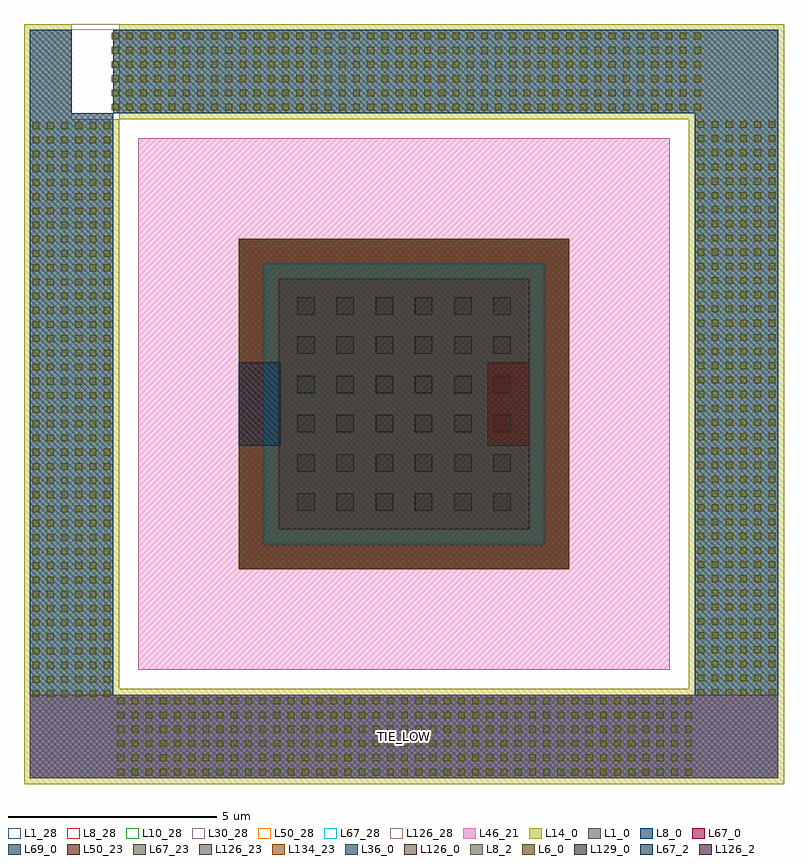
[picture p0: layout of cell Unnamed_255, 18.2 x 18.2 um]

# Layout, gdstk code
from math import pi, radians
import gdstk
lib = gdstk.Library(unit=1e-6, precision=1e-09)
def R(c, l, rs):  # rectangles x0, y0, x1, y1
    for r in rs: c.add(gdstk.rectangle(r[:2], r[2:], *l))
def P(c, l, *ps):  # polygons
    for p in ps: c.add(gdstk.Polygon(p, *l))
L1_0 = (1, 0)
L1_28 = (1, 28)
L6_0 = (6, 0)
L8_0 = (8, 0)
L8_2 = (8, 2)
L8_28 = (8, 28)
L10_28 = (10, 28)
L14_0 = (14, 0)
L30_28 = (30, 28)
L36_0 = (36, 0)
L46_21 = (46, 21)
L50_23 = (50, 23)
L50_28 = (50, 28)
L67_0 = (67, 0)
L67_2 = (67, 2)
L67_23 = (67, 23)
L67_28 = (67, 28)
L69_0 = (69, 0)
L126_0 = (126, 0)
L126_2 = (126, 2)
L126_23 = (126, 23)
L126_28 = (126, 28)
L129_0 = (129, 0)
L134_23 = (134, 23)

rectangle_gdsfactorypcom = lib.new_cell('rectangle_gdsfactorypcomponentspshapesprectangle_S7p92__2f53f460')
R(rectangle_gdsfactorypcom, L67_0, [(-3.96,-3.96,3.96,3.96)])

c_rectangle_gdsfactorypcom = lib.new_cell('rectangle_gdsfactorypcomponentspshapesprectangle_S6p72__84c52099')
R(c_rectangle_gdsfactorypcom, L36_0, [(-3.36,-3.36,3.36,3.36)])

c_rectangle_gdsfactorypcom_ = lib.new_cell('rectangle_gdsfactorypcomponentspshapesprectangle_S6_6_L_617c6e3a')
R(c_rectangle_gdsfactorypcom_, L126_0, [(-3,-3,3,3)])

c_rectangle_gdsfactorypcom__ = lib.new_cell('rectangle_gdsfactorypcomponentspshapesprectangle_S0p42__b20b6c6c')
R(c_rectangle_gdsfactorypcom__, L129_0, [(0,0,0.42,0.42)])

via_array_vtvmim_c6_r6_v = lib.new_cell('via_array_VTVmim_C6_R6_VS0p42_VS0p94_VE0p42_LCContdrawi_f9908038')
via_array_vtvmim_c6_r6_v.add(gdstk.Reference(c_rectangle_gdsfactorypcom__, (0,0)))
via_array_vtvmim_c6_r6_v.add(gdstk.Reference(c_rectangle_gdsfactorypcom__, (0,0.94)))
via_array_vtvmim_c6_r6_v.add(gdstk.Reference(c_rectangle_gdsfactorypcom__, (0,1.88)))
via_array_vtvmim_c6_r6_v.add(gdstk.Reference(c_rectangle_gdsfactorypcom__, (0,2.82)))
via_array_vtvmim_c6_r6_v.add(gdstk.Reference(c_rectangle_gdsfactorypcom__, (0,3.76)))
via_array_vtvmim_c6_r6_v.add(gdstk.Reference(c_rectangle_gdsfactorypcom__, (0,4.7)))
via_array_vtvmim_c6_r6_v.add(gdstk.Reference(c_rectangle_gdsfactorypcom__, (0.94,0)))
via_array_vtvmim_c6_r6_v.add(gdstk.Reference(c_rectangle_gdsfactorypcom__, (0.94,0.94)))
via_array_vtvmim_c6_r6_v.add(gdstk.Reference(c_rectangle_gdsfactorypcom__, (0.94,1.88)))
via_array_vtvmim_c6_r6_v.add(gdstk.Reference(c_rectangle_gdsfactorypcom__, (0.94,2.82)))
via_array_vtvmim_c6_r6_v.add(gdstk.Reference(c_rectangle_gdsfactorypcom__, (0.94,3.76)))
via_array_vtvmim_c6_r6_v.add(gdstk.Reference(c_rectangle_gdsfactorypcom__, (0.94,4.7)))
via_array_vtvmim_c6_r6_v.add(gdstk.Reference(c_rectangle_gdsfactorypcom__, (1.88,0)))
via_array_vtvmim_c6_r6_v.add(gdstk.Reference(c_rectangle_gdsfactorypcom__, (1.88,0.94)))
via_array_vtvmim_c6_r6_v.add(gdstk.Reference(c_rectangle_gdsfactorypcom__, (1.88,1.88)))
via_array_vtvmim_c6_r6_v.add(gdstk.Reference(c_rectangle_gdsfactorypcom__, (1.88,2.82)))
via_array_vtvmim_c6_r6_v.add(gdstk.Reference(c_rectangle_gdsfactorypcom__, (1.88,3.76)))
via_array_vtvmim_c6_r6_v.add(gdstk.Reference(c_rectangle_gdsfactorypcom__, (1.88,4.7)))
via_array_vtvmim_c6_r6_v.add(gdstk.Reference(c_rectangle_gdsfactorypcom__, (2.82,0)))
via_array_vtvmim_c6_r6_v.add(gdstk.Reference(c_rectangle_gdsfactorypcom__, (2.82,0.94)))
via_array_vtvmim_c6_r6_v.add(gdstk.Reference(c_rectangle_gdsfactorypcom__, (2.82,1.88)))
via_array_vtvmim_c6_r6_v.add(gdstk.Reference(c_rectangle_gdsfactorypcom__, (2.82,2.82)))
via_array_vtvmim_c6_r6_v.add(gdstk.Reference(c_rectangle_gdsfactorypcom__, (2.82,3.76)))
via_array_vtvmim_c6_r6_v.add(gdstk.Reference(c_rectangle_gdsfactorypcom__, (2.82,4.7)))
via_array_vtvmim_c6_r6_v.add(gdstk.Reference(c_rectangle_gdsfactorypcom__, (3.76,0)))
via_array_vtvmim_c6_r6_v.add(gdstk.Reference(c_rectangle_gdsfactorypcom__, (3.76,0.94)))
via_array_vtvmim_c6_r6_v.add(gdstk.Reference(c_rectangle_gdsfactorypcom__, (3.76,1.88)))
via_array_vtvmim_c6_r6_v.add(gdstk.Reference(c_rectangle_gdsfactorypcom__, (3.76,2.82)))
via_array_vtvmim_c6_r6_v.add(gdstk.Reference(c_rectangle_gdsfactorypcom__, (3.76,3.76)))
via_array_vtvmim_c6_r6_v.add(gdstk.Reference(c_rectangle_gdsfactorypcom__, (3.76,4.7)))
via_array_vtvmim_c6_r6_v.add(gdstk.Reference(c_rectangle_gdsfactorypcom__, (4.7,0)))
via_array_vtvmim_c6_r6_v.add(gdstk.Reference(c_rectangle_gdsfactorypcom__, (4.7,0.94)))
via_array_vtvmim_c6_r6_v.add(gdstk.Reference(c_rectangle_gdsfactorypcom__, (4.7,1.88)))
via_array_vtvmim_c6_r6_v.add(gdstk.Reference(c_rectangle_gdsfactorypcom__, (4.7,2.82)))
via_array_vtvmim_c6_r6_v.add(gdstk.Reference(c_rectangle_gdsfactorypcom__, (4.7,3.76)))
via_array_vtvmim_c6_r6_v.add(gdstk.Reference(c_rectangle_gdsfactorypcom__, (4.7,4.7)))

c_rectangle_gdsfactorypcom___ = lib.new_cell('rectangle_gdsfactorypcomponentspshapesprectangle_S7p92__94a7ff8e')
R(c_rectangle_gdsfactorypcom___, L69_0, [(-3.96,-3.96,3.96,3.96)])

c_rectangle_gdsfactorypcom____ = lib.new_cell('rectangle_gdsfactorypcomponentspshapesprectangle_S7p92__140be9b3')
R(c_rectangle_gdsfactorypcom____, L50_23, [(-3.96,-3.96,3.96,3.96)])

c_rectangle_gdsfactorypcom_____ = lib.new_cell('rectangle_gdsfactorypcomponentspshapesprectangle_S7p92__4ea18f77')
R(c_rectangle_gdsfactorypcom_____, L67_23, [(-3.96,-3.96,3.96,3.96)])

c_rectangle_gdsfactorypcom______ = lib.new_cell('rectangle_gdsfactorypcomponentspshapesprectangle_S7p92__2ec7e15c')
R(c_rectangle_gdsfactorypcom______, L126_23, [(-3.96,-3.96,3.96,3.96)])

c_rectangle_gdsfactorypcom_______ = lib.new_cell('rectangle_gdsfactorypcomponentspshapesprectangle_S7p92__59f34193')
R(c_rectangle_gdsfactorypcom_______, L134_23, [(-3.96,-3.96,3.96,3.96)])

c_rectangle_gdsfactorypcom________ = lib.new_cell('rectangle_gdsfactorypcomponentspshapesprectangle_S1_2_L_313130ad')
R(c_rectangle_gdsfactorypcom________, L67_2, [(-0.5,-1,0.5,1)])

c_rectangle_gdsfactorypcom_________ = lib.new_cell('rectangle_gdsfactorypcomponentspshapesprectangle_S1_2_L_21edbbcb')
R(c_rectangle_gdsfactorypcom_________, L126_2, [(-0.5,-1,0.5,1)])

unnamed_256 = lib.new_cell('Unnamed_256')
unnamed_256.add(gdstk.Reference(rectangle_gdsfactorypcom, (0,0)))
unnamed_256.add(gdstk.Reference(c_rectangle_gdsfactorypcom, (0,0)))
unnamed_256.add(gdstk.Reference(c_rectangle_gdsfactorypcom_, (0,0)))
unnamed_256.add(gdstk.Reference(via_array_vtvmim_c6_r6_v, (-2.56,-2.56)))
unnamed_256.add(gdstk.Reference(c_rectangle_gdsfactorypcom___, (0,0)))
unnamed_256.add(gdstk.Reference(c_rectangle_gdsfactorypcom____, (0,0)))
unnamed_256.add(gdstk.Reference(c_rectangle_gdsfactorypcom_____, (0,0)))
unnamed_256.add(gdstk.Reference(c_rectangle_gdsfactorypcom______, (0,0)))
unnamed_256.add(gdstk.Reference(c_rectangle_gdsfactorypcom_______, (0,0)))
unnamed_256.add(gdstk.Reference(c_rectangle_gdsfactorypcom________, (-3.46,0)))
unnamed_256.add(gdstk.Reference(c_rectangle_gdsfactorypcom_________, (2.5,0)))
unnamed_256.add(gdstk.Label('PLUS', (2.5,0), layer=63, texttype=0))
unnamed_256.add(gdstk.Label('MINUS', (-3.86,0), layer=63, texttype=0))
unnamed_256.add(gdstk.Label('rfcmim', (0,3), layer=63, texttype=0))
unnamed_256.add(gdstk.Label('C = 54.0 fF', (0,-3), layer=63, texttype=0))

c_rectangle_gdsfactorypcom__________ = lib.new_cell('rectangle_gdsfactorypcomponentspshapesprectangle_S12p71_ca79e953')
R(c_rectangle_gdsfactorypcom__________, L46_21, [(-6.36,-6.36,6.36,6.36)])

unnamed_258 = lib.new_cell('Unnamed_258')
P(unnamed_258, L1_0, [(-8.96,-8.96),(-8.96,8.96),(-6.96,8.96),(-6.96,-6.96),(6.96,-6.96),(6.96,6.96),(-7.96,6.96),(-7.96,8.96),(8.96,8.96),(8.96,-8.96)])

unnamed_259 = lib.new_cell('Unnamed_259')
P(unnamed_259, L8_0, [(-8.96,-8.96),(-8.96,8.96),(-6.96,8.96),(-6.96,-6.96),(6.96,-6.96),(6.96,6.96),(-7.96,6.96),(-7.96,8.96),(8.96,8.96),(8.96,-8.96)])

unnamed_260 = lib.new_cell('Unnamed_260')
P(unnamed_260, L14_0, [(-9.1,-9.1),(-9.1,9.1),(-6.82,9.1),(-6.82,-6.82),(6.82,-6.82),(6.82,6.82),(-7.96,6.82),(-7.96,9.1),(9.1,9.1),(9.1,-9.1)])

c_rectangle_gdsfactorypcom___________ = lib.new_cell('rectangle_gdsfactorypcomponentspshapesprectangle_S0p16__bf15bdcd')
R(c_rectangle_gdsfactorypcom___________, L6_0, [(0,0,0.16,0.16)])

via_array_vtcont_c1_r6_v = lib.new_cell('via_array_VTCont_C1_R6_VS0p16_VS0p33999999999999997_VE0_973e9d7a')
via_array_vtcont_c1_r6_v.add(gdstk.Reference(c_rectangle_gdsfactorypcom___________, (0,0)))
via_array_vtcont_c1_r6_v.add(gdstk.Reference(c_rectangle_gdsfactorypcom___________, (0,0.34)))
via_array_vtcont_c1_r6_v.add(gdstk.Reference(c_rectangle_gdsfactorypcom___________, (0,0.68)))
via_array_vtcont_c1_r6_v.add(gdstk.Reference(c_rectangle_gdsfactorypcom___________, (0,1.02)))
via_array_vtcont_c1_r6_v.add(gdstk.Reference(c_rectangle_gdsfactorypcom___________, (0,1.36)))
via_array_vtcont_c1_r6_v.add(gdstk.Reference(c_rectangle_gdsfactorypcom___________, (0,1.7)))

unnamed_261 = lib.new_cell('Unnamed_261')
unnamed_261.add(gdstk.Reference(via_array_vtcont_c1_r6_v, (0.095,-7.03), rotation=pi))
unnamed_261.add(gdstk.Reference(via_array_vtcont_c1_r6_v, (0.485,7.03)))
unnamed_261.add(gdstk.Reference(via_array_vtcont_c1_r6_v, (0.825,7.03)))
unnamed_261.add(gdstk.Reference(via_array_vtcont_c1_r6_v, (1.165,7.03)))
unnamed_261.add(gdstk.Reference(via_array_vtcont_c1_r6_v, (1.505,7.03)))
unnamed_261.add(gdstk.Reference(via_array_vtcont_c1_r6_v, (1.845,7.03)))
unnamed_261.add(gdstk.Reference(via_array_vtcont_c1_r6_v, (2.185,7.03)))
unnamed_261.add(gdstk.Reference(via_array_vtcont_c1_r6_v, (2.525,7.03)))
unnamed_261.add(gdstk.Reference(via_array_vtcont_c1_r6_v, (2.865,7.03)))
unnamed_261.add(gdstk.Reference(via_array_vtcont_c1_r6_v, (3.205,7.03)))
unnamed_261.add(gdstk.Reference(via_array_vtcont_c1_r6_v, (3.545,7.03)))
unnamed_261.add(gdstk.Reference(via_array_vtcont_c1_r6_v, (3.885,7.03)))
unnamed_261.add(gdstk.Reference(via_array_vtcont_c1_r6_v, (4.225,7.03)))
unnamed_261.add(gdstk.Reference(via_array_vtcont_c1_r6_v, (4.565,7.03)))
unnamed_261.add(gdstk.Reference(via_array_vtcont_c1_r6_v, (4.905,7.03)))
unnamed_261.add(gdstk.Reference(via_array_vtcont_c1_r6_v, (5.245,7.03)))
unnamed_261.add(gdstk.Reference(via_array_vtcont_c1_r6_v, (5.585,7.03)))
unnamed_261.add(gdstk.Reference(via_array_vtcont_c1_r6_v, (5.925,7.03)))
unnamed_261.add(gdstk.Reference(via_array_vtcont_c1_r6_v, (6.265,7.03)))
unnamed_261.add(gdstk.Reference(via_array_vtcont_c1_r6_v, (6.605,7.03)))
unnamed_261.add(gdstk.Reference(via_array_vtcont_c1_r6_v, (6.945,7.03)))
unnamed_261.add(gdstk.Reference(via_array_vtcont_c1_r6_v, (7.03,6.775), rotation=3*pi/2))
unnamed_261.add(gdstk.Reference(via_array_vtcont_c1_r6_v, (7.03,6.435), rotation=3*pi/2))
unnamed_261.add(gdstk.Reference(via_array_vtcont_c1_r6_v, (7.03,6.095), rotation=3*pi/2))
unnamed_261.add(gdstk.Reference(via_array_vtcont_c1_r6_v, (7.03,5.755), rotation=3*pi/2))
unnamed_261.add(gdstk.Reference(via_array_vtcont_c1_r6_v, (7.03,5.415), rotation=3*pi/2))
unnamed_261.add(gdstk.Reference(via_array_vtcont_c1_r6_v, (7.03,5.075), rotation=3*pi/2))
unnamed_261.add(gdstk.Reference(via_array_vtcont_c1_r6_v, (7.03,4.735), rotation=3*pi/2))
unnamed_261.add(gdstk.Reference(via_array_vtcont_c1_r6_v, (7.03,4.395), rotation=3*pi/2))
unnamed_261.add(gdstk.Reference(via_array_vtcont_c1_r6_v, (7.03,4.055), rotation=3*pi/2))
unnamed_261.add(gdstk.Reference(via_array_vtcont_c1_r6_v, (7.03,3.715), rotation=3*pi/2))
unnamed_261.add(gdstk.Reference(via_array_vtcont_c1_r6_v, (7.03,3.375), rotation=3*pi/2))
unnamed_261.add(gdstk.Reference(via_array_vtcont_c1_r6_v, (7.03,3.035), rotation=3*pi/2))
unnamed_261.add(gdstk.Reference(via_array_vtcont_c1_r6_v, (7.03,2.695), rotation=3*pi/2))
unnamed_261.add(gdstk.Reference(via_array_vtcont_c1_r6_v, (7.03,2.355), rotation=3*pi/2))
unnamed_261.add(gdstk.Reference(via_array_vtcont_c1_r6_v, (7.03,2.015), rotation=3*pi/2))
unnamed_261.add(gdstk.Reference(via_array_vtcont_c1_r6_v, (7.03,1.675), rotation=3*pi/2))
unnamed_261.add(gdstk.Reference(via_array_vtcont_c1_r6_v, (7.03,1.335), rotation=3*pi/2))
unnamed_261.add(gdstk.Reference(via_array_vtcont_c1_r6_v, (7.03,0.995), rotation=3*pi/2))
unnamed_261.add(gdstk.Reference(via_array_vtcont_c1_r6_v, (7.03,0.655), rotation=3*pi/2))
unnamed_261.add(gdstk.Reference(via_array_vtcont_c1_r6_v, (7.03,0.315), rotation=3*pi/2))
unnamed_261.add(gdstk.Reference(via_array_vtcont_c1_r6_v, (0.145,7.03)))
unnamed_261.add(gdstk.Reference(via_array_vtcont_c1_r6_v, (-6.995,7.03)))
unnamed_261.add(gdstk.Reference(via_array_vtcont_c1_r6_v, (-6.655,7.03)))
unnamed_261.add(gdstk.Reference(via_array_vtcont_c1_r6_v, (-6.315,7.03)))
unnamed_261.add(gdstk.Reference(via_array_vtcont_c1_r6_v, (-5.975,7.03)))
unnamed_261.add(gdstk.Reference(via_array_vtcont_c1_r6_v, (-5.635,7.03)))
unnamed_261.add(gdstk.Reference(via_array_vtcont_c1_r6_v, (-5.295,7.03)))
unnamed_261.add(gdstk.Reference(via_array_vtcont_c1_r6_v, (-4.955,7.03)))
unnamed_261.add(gdstk.Reference(via_array_vtcont_c1_r6_v, (-4.615,7.03)))
unnamed_261.add(gdstk.Reference(via_array_vtcont_c1_r6_v, (-4.275,7.03)))
unnamed_261.add(gdstk.Reference(via_array_vtcont_c1_r6_v, (-3.935,7.03)))
unnamed_261.add(gdstk.Reference(via_array_vtcont_c1_r6_v, (-3.595,7.03)))
unnamed_261.add(gdstk.Reference(via_array_vtcont_c1_r6_v, (-3.255,7.03)))
unnamed_261.add(gdstk.Reference(via_array_vtcont_c1_r6_v, (-2.915,7.03)))
unnamed_261.add(gdstk.Reference(via_array_vtcont_c1_r6_v, (-2.575,7.03)))
unnamed_261.add(gdstk.Reference(via_array_vtcont_c1_r6_v, (-2.235,7.03)))
unnamed_261.add(gdstk.Reference(via_array_vtcont_c1_r6_v, (-1.895,7.03)))
unnamed_261.add(gdstk.Reference(via_array_vtcont_c1_r6_v, (-1.555,7.03)))
unnamed_261.add(gdstk.Reference(via_array_vtcont_c1_r6_v, (-1.215,7.03)))
unnamed_261.add(gdstk.Reference(via_array_vtcont_c1_r6_v, (-0.875,7.03)))
unnamed_261.add(gdstk.Reference(via_array_vtcont_c1_r6_v, (-0.535,7.03)))
unnamed_261.add(gdstk.Reference(via_array_vtcont_c1_r6_v, (-0.195,7.03)))
unnamed_261.add(gdstk.Reference(via_array_vtcont_c1_r6_v, (-7.03,0.125), rotation=pi/2))
unnamed_261.add(gdstk.Reference(via_array_vtcont_c1_r6_v, (-7.03,0.465), rotation=pi/2))
unnamed_261.add(gdstk.Reference(via_array_vtcont_c1_r6_v, (-7.03,0.805), rotation=pi/2))
unnamed_261.add(gdstk.Reference(via_array_vtcont_c1_r6_v, (-7.03,1.145), rotation=pi/2))
unnamed_261.add(gdstk.Reference(via_array_vtcont_c1_r6_v, (-7.03,1.485), rotation=pi/2))
unnamed_261.add(gdstk.Reference(via_array_vtcont_c1_r6_v, (-7.03,1.825), rotation=pi/2))
unnamed_261.add(gdstk.Reference(via_array_vtcont_c1_r6_v, (-7.03,2.165), rotation=pi/2))
unnamed_261.add(gdstk.Reference(via_array_vtcont_c1_r6_v, (-7.03,2.505), rotation=pi/2))
unnamed_261.add(gdstk.Reference(via_array_vtcont_c1_r6_v, (-7.03,2.845), rotation=pi/2))
unnamed_261.add(gdstk.Reference(via_array_vtcont_c1_r6_v, (-7.03,3.185), rotation=pi/2))
unnamed_261.add(gdstk.Reference(via_array_vtcont_c1_r6_v, (-7.03,3.525), rotation=pi/2))
unnamed_261.add(gdstk.Reference(via_array_vtcont_c1_r6_v, (-7.03,3.865), rotation=pi/2))
unnamed_261.add(gdstk.Reference(via_array_vtcont_c1_r6_v, (-7.03,4.205), rotation=pi/2))
unnamed_261.add(gdstk.Reference(via_array_vtcont_c1_r6_v, (-7.03,4.545), rotation=pi/2))
unnamed_261.add(gdstk.Reference(via_array_vtcont_c1_r6_v, (-7.03,4.885), rotation=pi/2))
unnamed_261.add(gdstk.Reference(via_array_vtcont_c1_r6_v, (-7.03,5.225), rotation=pi/2))
unnamed_261.add(gdstk.Reference(via_array_vtcont_c1_r6_v, (-7.03,5.565), rotation=pi/2))
unnamed_261.add(gdstk.Reference(via_array_vtcont_c1_r6_v, (-7.03,5.905), rotation=pi/2))
unnamed_261.add(gdstk.Reference(via_array_vtcont_c1_r6_v, (-7.03,6.245), rotation=pi/2))
unnamed_261.add(gdstk.Reference(via_array_vtcont_c1_r6_v, (-7.03,6.585), rotation=pi/2))
unnamed_261.add(gdstk.Reference(via_array_vtcont_c1_r6_v, (-7.03,-7.015), rotation=pi/2))
unnamed_261.add(gdstk.Reference(via_array_vtcont_c1_r6_v, (-7.03,-6.675), rotation=pi/2))
unnamed_261.add(gdstk.Reference(via_array_vtcont_c1_r6_v, (-7.03,-6.335), rotation=pi/2))
unnamed_261.add(gdstk.Reference(via_array_vtcont_c1_r6_v, (-7.03,-5.995), rotation=pi/2))
unnamed_261.add(gdstk.Reference(via_array_vtcont_c1_r6_v, (-7.03,-5.655), rotation=pi/2))
unnamed_261.add(gdstk.Reference(via_array_vtcont_c1_r6_v, (-7.03,-5.315), rotation=pi/2))
unnamed_261.add(gdstk.Reference(via_array_vtcont_c1_r6_v, (-7.03,-4.975), rotation=pi/2))
unnamed_261.add(gdstk.Reference(via_array_vtcont_c1_r6_v, (-7.03,-4.635), rotation=pi/2))
unnamed_261.add(gdstk.Reference(via_array_vtcont_c1_r6_v, (-7.03,-4.295), rotation=pi/2))
unnamed_261.add(gdstk.Reference(via_array_vtcont_c1_r6_v, (-7.03,-3.955), rotation=pi/2))
unnamed_261.add(gdstk.Reference(via_array_vtcont_c1_r6_v, (-7.03,-3.615), rotation=pi/2))
unnamed_261.add(gdstk.Reference(via_array_vtcont_c1_r6_v, (-7.03,-3.275), rotation=pi/2))
unnamed_261.add(gdstk.Reference(via_array_vtcont_c1_r6_v, (-7.03,-2.935), rotation=pi/2))
unnamed_261.add(gdstk.Reference(via_array_vtcont_c1_r6_v, (-7.03,-2.595), rotation=pi/2))
unnamed_261.add(gdstk.Reference(via_array_vtcont_c1_r6_v, (-7.03,-2.255), rotation=pi/2))
unnamed_261.add(gdstk.Reference(via_array_vtcont_c1_r6_v, (-7.03,-1.915), rotation=pi/2))
unnamed_261.add(gdstk.Reference(via_array_vtcont_c1_r6_v, (-7.03,-1.575), rotation=pi/2))
unnamed_261.add(gdstk.Reference(via_array_vtcont_c1_r6_v, (-7.03,-1.235), rotation=pi/2))
unnamed_261.add(gdstk.Reference(via_array_vtcont_c1_r6_v, (-7.03,-0.895), rotation=pi/2))
unnamed_261.add(gdstk.Reference(via_array_vtcont_c1_r6_v, (-7.03,-0.555), rotation=pi/2))
unnamed_261.add(gdstk.Reference(via_array_vtcont_c1_r6_v, (-7.03,-0.215), rotation=pi/2))
unnamed_261.add(gdstk.Reference(via_array_vtcont_c1_r6_v, (-0.245,-7.03), rotation=pi))
unnamed_261.add(gdstk.Reference(via_array_vtcont_c1_r6_v, (-0.585,-7.03), rotation=pi))
unnamed_261.add(gdstk.Reference(via_array_vtcont_c1_r6_v, (-0.925,-7.03), rotation=pi))
unnamed_261.add(gdstk.Reference(via_array_vtcont_c1_r6_v, (-1.265,-7.03), rotation=pi))
unnamed_261.add(gdstk.Reference(via_array_vtcont_c1_r6_v, (-1.605,-7.03), rotation=pi))
unnamed_261.add(gdstk.Reference(via_array_vtcont_c1_r6_v, (-1.945,-7.03), rotation=pi))
unnamed_261.add(gdstk.Reference(via_array_vtcont_c1_r6_v, (-2.285,-7.03), rotation=pi))
unnamed_261.add(gdstk.Reference(via_array_vtcont_c1_r6_v, (-2.625,-7.03), rotation=pi))
unnamed_261.add(gdstk.Reference(via_array_vtcont_c1_r6_v, (-2.965,-7.03), rotation=pi))
unnamed_261.add(gdstk.Reference(via_array_vtcont_c1_r6_v, (-3.305,-7.03), rotation=pi))
unnamed_261.add(gdstk.Reference(via_array_vtcont_c1_r6_v, (-3.645,-7.03), rotation=pi))
unnamed_261.add(gdstk.Reference(via_array_vtcont_c1_r6_v, (-3.985,-7.03), rotation=pi))
unnamed_261.add(gdstk.Reference(via_array_vtcont_c1_r6_v, (-4.325,-7.03), rotation=pi))
unnamed_261.add(gdstk.Reference(via_array_vtcont_c1_r6_v, (-4.665,-7.03), rotation=pi))
unnamed_261.add(gdstk.Reference(via_array_vtcont_c1_r6_v, (-5.005,-7.03), rotation=pi))
unnamed_261.add(gdstk.Reference(via_array_vtcont_c1_r6_v, (-5.345,-7.03), rotation=pi))
unnamed_261.add(gdstk.Reference(via_array_vtcont_c1_r6_v, (-5.685,-7.03), rotation=pi))
unnamed_261.add(gdstk.Reference(via_array_vtcont_c1_r6_v, (-6.025,-7.03), rotation=pi))
unnamed_261.add(gdstk.Reference(via_array_vtcont_c1_r6_v, (-6.365,-7.03), rotation=pi))
unnamed_261.add(gdstk.Reference(via_array_vtcont_c1_r6_v, (-6.705,-7.03), rotation=pi))
unnamed_261.add(gdstk.Reference(via_array_vtcont_c1_r6_v, (6.895,-7.03), rotation=pi))
unnamed_261.add(gdstk.Reference(via_array_vtcont_c1_r6_v, (6.555,-7.03), rotation=pi))
unnamed_261.add(gdstk.Reference(via_array_vtcont_c1_r6_v, (6.215,-7.03), rotation=pi))
unnamed_261.add(gdstk.Reference(via_array_vtcont_c1_r6_v, (5.875,-7.03), rotation=pi))
unnamed_261.add(gdstk.Reference(via_array_vtcont_c1_r6_v, (5.535,-7.03), rotation=pi))
unnamed_261.add(gdstk.Reference(via_array_vtcont_c1_r6_v, (5.195,-7.03), rotation=pi))
unnamed_261.add(gdstk.Reference(via_array_vtcont_c1_r6_v, (4.855,-7.03), rotation=pi))
unnamed_261.add(gdstk.Reference(via_array_vtcont_c1_r6_v, (4.515,-7.03), rotation=pi))
unnamed_261.add(gdstk.Reference(via_array_vtcont_c1_r6_v, (4.175,-7.03), rotation=pi))
unnamed_261.add(gdstk.Reference(via_array_vtcont_c1_r6_v, (3.835,-7.03), rotation=pi))
unnamed_261.add(gdstk.Reference(via_array_vtcont_c1_r6_v, (3.495,-7.03), rotation=pi))
unnamed_261.add(gdstk.Reference(via_array_vtcont_c1_r6_v, (3.155,-7.03), rotation=pi))
unnamed_261.add(gdstk.Reference(via_array_vtcont_c1_r6_v, (2.815,-7.03), rotation=pi))
unnamed_261.add(gdstk.Reference(via_array_vtcont_c1_r6_v, (2.475,-7.03), rotation=pi))
unnamed_261.add(gdstk.Reference(via_array_vtcont_c1_r6_v, (2.135,-7.03), rotation=pi))
unnamed_261.add(gdstk.Reference(via_array_vtcont_c1_r6_v, (1.795,-7.03), rotation=pi))
unnamed_261.add(gdstk.Reference(via_array_vtcont_c1_r6_v, (1.455,-7.03), rotation=pi))
unnamed_261.add(gdstk.Reference(via_array_vtcont_c1_r6_v, (1.115,-7.03), rotation=pi))
unnamed_261.add(gdstk.Reference(via_array_vtcont_c1_r6_v, (0.775,-7.03), rotation=pi))
unnamed_261.add(gdstk.Reference(via_array_vtcont_c1_r6_v, (0.435,-7.03), rotation=pi))
unnamed_261.add(gdstk.Reference(via_array_vtcont_c1_r6_v, (7.03,-0.025), rotation=3*pi/2))
unnamed_261.add(gdstk.Reference(via_array_vtcont_c1_r6_v, (7.03,-0.365), rotation=3*pi/2))
unnamed_261.add(gdstk.Reference(via_array_vtcont_c1_r6_v, (7.03,-0.705), rotation=3*pi/2))
unnamed_261.add(gdstk.Reference(via_array_vtcont_c1_r6_v, (7.03,-1.045), rotation=3*pi/2))
unnamed_261.add(gdstk.Reference(via_array_vtcont_c1_r6_v, (7.03,-1.385), rotation=3*pi/2))
unnamed_261.add(gdstk.Reference(via_array_vtcont_c1_r6_v, (7.03,-1.725), rotation=3*pi/2))
unnamed_261.add(gdstk.Reference(via_array_vtcont_c1_r6_v, (7.03,-2.065), rotation=3*pi/2))
unnamed_261.add(gdstk.Reference(via_array_vtcont_c1_r6_v, (7.03,-2.405), rotation=3*pi/2))
unnamed_261.add(gdstk.Reference(via_array_vtcont_c1_r6_v, (7.03,-2.745), rotation=3*pi/2))
unnamed_261.add(gdstk.Reference(via_array_vtcont_c1_r6_v, (7.03,-3.085), rotation=3*pi/2))
unnamed_261.add(gdstk.Reference(via_array_vtcont_c1_r6_v, (7.03,-3.425), rotation=3*pi/2))
unnamed_261.add(gdstk.Reference(via_array_vtcont_c1_r6_v, (7.03,-3.765), rotation=3*pi/2))
unnamed_261.add(gdstk.Reference(via_array_vtcont_c1_r6_v, (7.03,-4.105), rotation=3*pi/2))
unnamed_261.add(gdstk.Reference(via_array_vtcont_c1_r6_v, (7.03,-4.445), rotation=3*pi/2))
unnamed_261.add(gdstk.Reference(via_array_vtcont_c1_r6_v, (7.03,-4.785), rotation=3*pi/2))
unnamed_261.add(gdstk.Reference(via_array_vtcont_c1_r6_v, (7.03,-5.125), rotation=3*pi/2))
unnamed_261.add(gdstk.Reference(via_array_vtcont_c1_r6_v, (7.03,-5.465), rotation=3*pi/2))
unnamed_261.add(gdstk.Reference(via_array_vtcont_c1_r6_v, (7.03,-5.805), rotation=3*pi/2))
unnamed_261.add(gdstk.Reference(via_array_vtcont_c1_r6_v, (7.03,-6.145), rotation=3*pi/2))
unnamed_261.add(gdstk.Reference(via_array_vtcont_c1_r6_v, (7.03,-6.485), rotation=3*pi/2))
unnamed_261.add(gdstk.Reference(via_array_vtcont_c1_r6_v, (7.03,-6.825), rotation=3*pi/2))

unnamed_257 = lib.new_cell('Unnamed_257')
unnamed_257.add(gdstk.Reference(unnamed_258, (0,0)))
unnamed_257.add(gdstk.Reference(unnamed_259, (0,0)))
unnamed_257.add(gdstk.Reference(unnamed_260, (0,0)))
unnamed_257.add(gdstk.Reference(unnamed_261, (0,0)))

c_rectangle_gdsfactorypcom____________ = lib.new_cell('rectangle_gdsfactorypcomponentspshapesprectangle_S18p2__7b8b281a')
R(c_rectangle_gdsfactorypcom____________, L1_28, [(-9.1,-9.1,9.1,9.1)])

c_rectangle_gdsfactorypcom_____________ = lib.new_cell('rectangle_gdsfactorypcomponentspshapesprectangle_S18p2__1fbc386d')
R(c_rectangle_gdsfactorypcom_____________, L8_28, [(-9.1,-9.1,9.1,9.1)])

c_rectangle_gdsfactorypcom______________ = lib.new_cell('rectangle_gdsfactorypcomponentspshapesprectangle_S18p2__cd11e7fd')
R(c_rectangle_gdsfactorypcom______________, L10_28, [(-9.1,-9.1,9.1,9.1)])

c_rectangle_gdsfactorypcom_______________ = lib.new_cell('rectangle_gdsfactorypcomponentspshapesprectangle_S18p2__c032e132')
R(c_rectangle_gdsfactorypcom_______________, L30_28, [(-9.1,-9.1,9.1,9.1)])

c_rectangle_gdsfactorypcom________________ = lib.new_cell('rectangle_gdsfactorypcomponentspshapesprectangle_S18p2__63c278d1')
R(c_rectangle_gdsfactorypcom________________, L50_28, [(-9.1,-9.1,9.1,9.1)])

c_rectangle_gdsfactorypcom_________________ = lib.new_cell('rectangle_gdsfactorypcomponentspshapesprectangle_S18p2__e3648634')
R(c_rectangle_gdsfactorypcom_________________, L67_28, [(-9.1,-9.1,9.1,9.1)])

c_rectangle_gdsfactorypcom__________________ = lib.new_cell('rectangle_gdsfactorypcomponentspshapesprectangle_S18p2__0ec3c713')
R(c_rectangle_gdsfactorypcom__________________, L126_28, [(-9.1,-9.1,9.1,9.1)])

c_rectangle_gdsfactorypcom___________________ = lib.new_cell('rectangle_gdsfactorypcomponentspshapesprectangle_S17p91_3ba1c72e')
R(c_rectangle_gdsfactorypcom___________________, L8_2, [(-8.96,-1,8.96,1)])

unnamed_255 = lib.new_cell('Unnamed_255')
unnamed_255.add(gdstk.Reference(unnamed_256, (0,0)))
unnamed_255.add(gdstk.Reference(c_rectangle_gdsfactorypcom__________, (0,0)))
unnamed_255.add(gdstk.Reference(unnamed_257, (0,0)))
unnamed_255.add(gdstk.Reference(c_rectangle_gdsfactorypcom____________, (0,0)))
unnamed_255.add(gdstk.Reference(c_rectangle_gdsfactorypcom_____________, (0,0)))
unnamed_255.add(gdstk.Reference(c_rectangle_gdsfactorypcom______________, (0,0)))
unnamed_255.add(gdstk.Reference(c_rectangle_gdsfactorypcom_______________, (0,0)))
unnamed_255.add(gdstk.Reference(c_rectangle_gdsfactorypcom________________, (0,0)))
unnamed_255.add(gdstk.Reference(c_rectangle_gdsfactorypcom_________________, (0,0)))
unnamed_255.add(gdstk.Reference(c_rectangle_gdsfactorypcom__________________, (0,0)))
unnamed_255.add(gdstk.Reference(c_rectangle_gdsfactorypcom___________________, (0,-7.96)))
unnamed_255.add(gdstk.Label('TIE_LOW', (0,-7.96), layer=8, texttype=1))
unnamed_255.add(gdstk.Label('TIE_LOW', (0,-7.96), layer=63, texttype=0))

lib.write_gds('Unnamed_255.gds')
